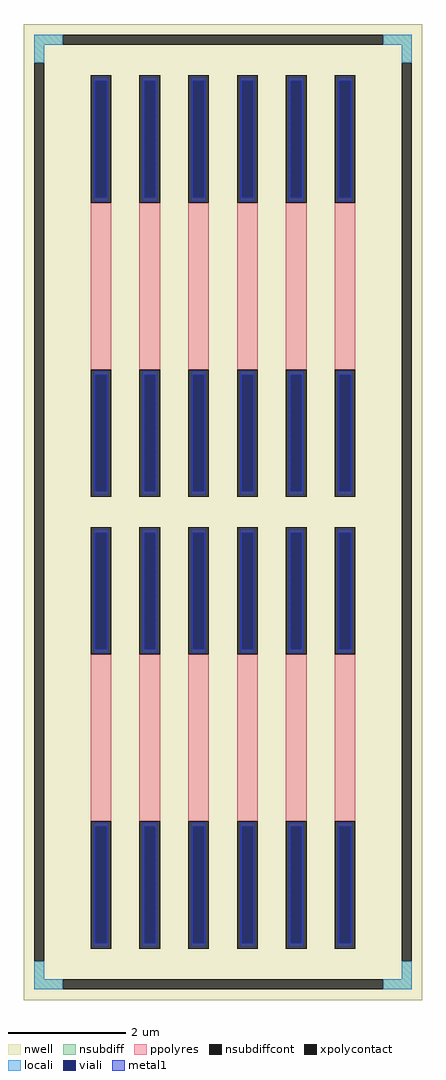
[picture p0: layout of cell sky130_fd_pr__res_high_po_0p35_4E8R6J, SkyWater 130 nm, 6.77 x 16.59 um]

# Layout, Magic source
magic
tech sky130A
magscale 1 2
<< nwell >>
rect -677 -1659 677 1659
<< nsubdiff >>
rect -641 1589 -545 1623
rect 545 1589 641 1623
rect -641 1527 -607 1589
rect 607 1527 641 1589
rect -641 -1589 -607 -1527
rect 607 -1589 641 -1527
rect -641 -1623 -545 -1589
rect 545 -1623 641 -1589
<< nsubdiffcont >>
rect -545 1589 545 1623
rect -641 -1527 -607 1527
rect 607 -1527 641 1527
rect -545 -1623 545 -1589
<< xpolycontact >>
rect -450 1052 -380 1484
rect -450 52 -380 484
rect -284 1052 -214 1484
rect -284 52 -214 484
rect -118 1052 -48 1484
rect -118 52 -48 484
rect 48 1052 118 1484
rect 48 52 118 484
rect 214 1052 284 1484
rect 214 52 284 484
rect 380 1052 450 1484
rect 380 52 450 484
rect -450 -484 -380 -52
rect -450 -1484 -380 -1052
rect -284 -484 -214 -52
rect -284 -1484 -214 -1052
rect -118 -484 -48 -52
rect -118 -1484 -48 -1052
rect 48 -484 118 -52
rect 48 -1484 118 -1052
rect 214 -484 284 -52
rect 214 -1484 284 -1052
rect 380 -484 450 -52
rect 380 -1484 450 -1052
<< ppolyres >>
rect -450 484 -380 1052
rect -284 484 -214 1052
rect -118 484 -48 1052
rect 48 484 118 1052
rect 214 484 284 1052
rect 380 484 450 1052
rect -450 -1052 -380 -484
rect -284 -1052 -214 -484
rect -118 -1052 -48 -484
rect 48 -1052 118 -484
rect 214 -1052 284 -484
rect 380 -1052 450 -484
<< locali >>
rect -641 1589 -545 1623
rect 545 1589 641 1623
rect -641 1527 -607 1589
rect 607 1527 641 1589
rect -641 -1589 -607 -1527
rect 607 -1589 641 -1527
rect -641 -1623 -545 -1589
rect 545 -1623 641 -1589
<< viali >>
rect -434 1069 -396 1466
rect -268 1069 -230 1466
rect -102 1069 -64 1466
rect 64 1069 102 1466
rect 230 1069 268 1466
rect 396 1069 434 1466
rect -434 70 -396 467
rect -268 70 -230 467
rect -102 70 -64 467
rect 64 70 102 467
rect 230 70 268 467
rect 396 70 434 467
rect -434 -467 -396 -70
rect -268 -467 -230 -70
rect -102 -467 -64 -70
rect 64 -467 102 -70
rect 230 -467 268 -70
rect 396 -467 434 -70
rect -434 -1466 -396 -1069
rect -268 -1466 -230 -1069
rect -102 -1466 -64 -1069
rect 64 -1466 102 -1069
rect 230 -1466 268 -1069
rect 396 -1466 434 -1069
<< metal1 >>
rect -440 1466 -390 1478
rect -440 1069 -434 1466
rect -396 1069 -390 1466
rect -440 1057 -390 1069
rect -274 1466 -224 1478
rect -274 1069 -268 1466
rect -230 1069 -224 1466
rect -274 1057 -224 1069
rect -108 1466 -58 1478
rect -108 1069 -102 1466
rect -64 1069 -58 1466
rect -108 1057 -58 1069
rect 58 1466 108 1478
rect 58 1069 64 1466
rect 102 1069 108 1466
rect 58 1057 108 1069
rect 224 1466 274 1478
rect 224 1069 230 1466
rect 268 1069 274 1466
rect 224 1057 274 1069
rect 390 1466 440 1478
rect 390 1069 396 1466
rect 434 1069 440 1466
rect 390 1057 440 1069
rect -440 467 -390 479
rect -440 70 -434 467
rect -396 70 -390 467
rect -440 58 -390 70
rect -274 467 -224 479
rect -274 70 -268 467
rect -230 70 -224 467
rect -274 58 -224 70
rect -108 467 -58 479
rect -108 70 -102 467
rect -64 70 -58 467
rect -108 58 -58 70
rect 58 467 108 479
rect 58 70 64 467
rect 102 70 108 467
rect 58 58 108 70
rect 224 467 274 479
rect 224 70 230 467
rect 268 70 274 467
rect 224 58 274 70
rect 390 467 440 479
rect 390 70 396 467
rect 434 70 440 467
rect 390 58 440 70
rect -440 -70 -390 -58
rect -440 -467 -434 -70
rect -396 -467 -390 -70
rect -440 -479 -390 -467
rect -274 -70 -224 -58
rect -274 -467 -268 -70
rect -230 -467 -224 -70
rect -274 -479 -224 -467
rect -108 -70 -58 -58
rect -108 -467 -102 -70
rect -64 -467 -58 -70
rect -108 -479 -58 -467
rect 58 -70 108 -58
rect 58 -467 64 -70
rect 102 -467 108 -70
rect 58 -479 108 -467
rect 224 -70 274 -58
rect 224 -467 230 -70
rect 268 -467 274 -70
rect 224 -479 274 -467
rect 390 -70 440 -58
rect 390 -467 396 -70
rect 434 -467 440 -70
rect 390 -479 440 -467
rect -440 -1069 -390 -1057
rect -440 -1466 -434 -1069
rect -396 -1466 -390 -1069
rect -440 -1478 -390 -1466
rect -274 -1069 -224 -1057
rect -274 -1466 -268 -1069
rect -230 -1466 -224 -1069
rect -274 -1478 -224 -1466
rect -108 -1069 -58 -1057
rect -108 -1466 -102 -1069
rect -64 -1466 -58 -1069
rect -108 -1478 -58 -1466
rect 58 -1069 108 -1057
rect 58 -1466 64 -1069
rect 102 -1466 108 -1069
rect 58 -1478 108 -1466
rect 224 -1069 274 -1057
rect 224 -1466 230 -1069
rect 268 -1466 274 -1069
rect 224 -1478 274 -1466
rect 390 -1069 440 -1057
rect 390 -1466 396 -1069
rect 434 -1466 440 -1069
rect 390 -1478 440 -1466
<< properties >>
string FIXED_BBOX -624 -1606 624 1606
string gencell sky130_fd_pr__res_high_po_0p35
string library sky130
string parameters w 0.350 l 3 m 2 nx 6 wmin 0.350 lmin 0.50 rho 319.8 val 3.854k dummy 0 dw 0.0 term 194.82 sterm 0.0 caplen 0 guard 1 glc 1 grc 1 gtc 1 gbc 1 compatible {sky130_fd_pr__res_high_po_0p35  sky130_fd_pr__res_high_po_0p69 sky130_fd_pr__res_high_po_1p41  sky130_fd_pr__res_high_po_2p85 sky130_fd_pr__res_high_po_5p73} snake 0 full_metal 1 wmax 0.350 vias 1 n_guard 1 hv_guard 0 viagb 0 viagt 0 viagl 0 viagr 0
<< end >>
